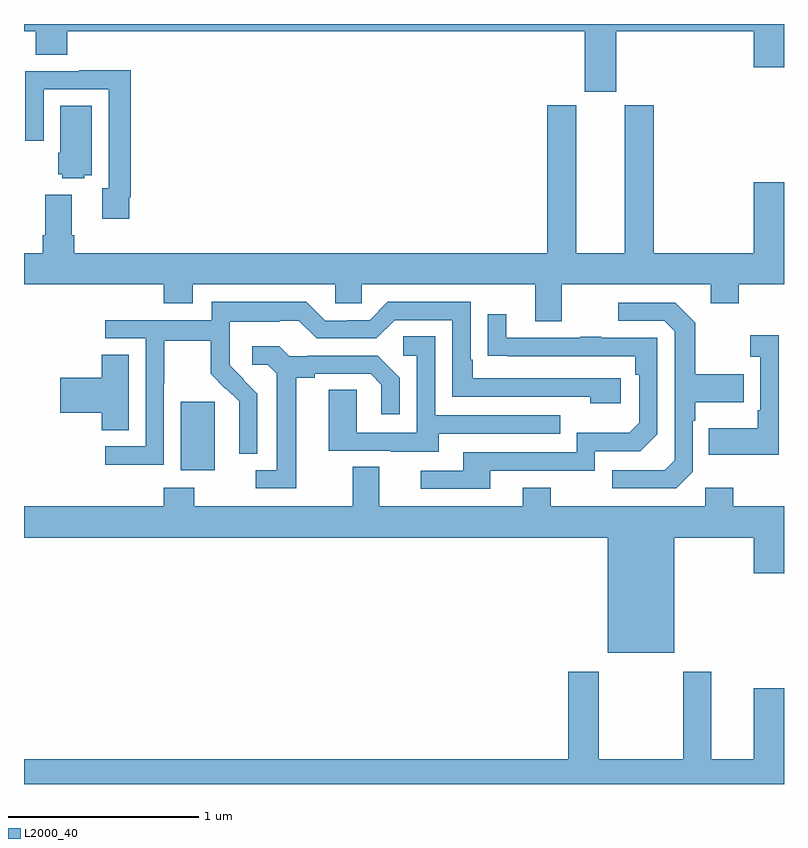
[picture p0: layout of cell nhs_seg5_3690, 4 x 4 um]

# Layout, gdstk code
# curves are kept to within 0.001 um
import gdstk
lib = gdstk.Library(unit=1e-6, precision=1e-09)
def R(c, l, rs):  # rectangles x0, y0, x1, y1
    for r in rs: c.add(gdstk.rectangle(r[:2], r[2:], *l))
def P(c, l, *ps):  # polygons
    for p in ps: c.add(gdstk.Polygon(p, *l))
L2000_40 = (2000, 40)

nhs_seg5_3690 = lib.new_cell('nhs_seg5_3690')
R(nhs_seg5_3690, L2000_40, [(329.825,854.45,330.004,854.811)])
P(nhs_seg5_3690, L2000_40, [(329,856.76),(329.063,856.76),(329.063,856.636),(329.228,856.636),(329.228,856.76),(331.952,856.76),(331.952,856.443),(332.116,856.443),(332.116,856.76),(332.84,856.76),(332.84,856.572),(333,856.572),(333,856.799),(329,856.799)],
  [(329.554,855.886),(329.561,855.886),(329.561,856.555),(329.291,856.555),(329.291,856.551),(329.007,856.551),(329.007,856.185),(329.103,856.185),(329.103,856.455),(329.445,856.455),(329.445,855.935),(329.411,855.935),(329.411,855.774),(329.554,855.774)],
  [(329.264,855.688),(329.251,855.688),(329.251,855.901),(329.111,855.901),(329.111,855.688),(329.099,855.688),(329.099,855.592),(329,855.592),(329,855.428),(329.735,855.428),(329.735,855.329),(329.887,855.329),(329.887,855.428),(330.639,855.428),(330.639,855.33),(330.777,855.33),(330.777,855.428),(331.691,855.428),(331.691,855.234),(331.831,855.234),(331.831,855.428),(332.615,855.428),(332.615,855.329),(332.763,855.329),(332.763,855.428),(333,855.428),(333,855.967),(332.84,855.967),(332.84,855.592),(332.315,855.592),(332.315,856.371),(332.162,856.371),(332.162,855.592),(331.906,855.592),(331.906,856.371),(331.754,856.371),(331.754,855.592),(329.264,855.592)],
  [(329.316,856.004),(329.356,856.004),(329.356,856.37),(329.192,856.37),(329.192,856.122),(329.18,856.122),(329.18,856.008),(329.202,856.008),(329.202,855.986),(329.316,855.986)],
  [(329.736,854.908),(329.739,854.908),(329.739,855.132),(329.983,855.132),(329.983,854.957),(330.06,854.88),(330.063,854.883),(330.134,854.813),(330.134,854.69),(330.132,854.69),(330.132,854.536),(330.228,854.536),(330.228,854.854),(330.082,855.002),(330.082,855.099),(330.084,855.099),(330.084,855.233),(330.347,855.233),(330.347,855.237),(330.447,855.237),(330.54,855.144),(330.855,855.144),(330.951,855.24),(331.254,855.24),(331.254,854.838),(331.979,854.838),(331.979,854.804),(332.14,854.804),(332.14,854.934),(331.363,854.934),(331.363,855.031),(331.35,855.031),(331.35,855.336),(330.915,855.336),(330.819,855.24),(330.701,855.24),(330.701,855.237),(330.585,855.237),(330.485,855.337),(329.988,855.337),(329.988,855.24),(329.427,855.24),(329.427,855.144),(329.64,855.144),(329.64,854.577),(329.427,854.577),(329.427,854.479),(329.736,854.479)],
  [(332.52,854.442),(332.52,854.711),(332.533,854.711),(332.533,854.807),(332.789,854.807),(332.789,854.955),(332.533,854.955),(332.533,855.227),(332.427,855.333),(332.127,855.333),(332.127,855.237),(332.37,855.237),(332.424,855.183),(332.424,854.502),(332.373,854.451),(332.097,854.451),(332.097,854.355),(332.433,854.355)],
  [(331.453,854.448),(332.004,854.448),(332.004,854.55),(332.244,854.55),(332.334,854.64),(332.334,855.147),(332.039,855.147),(332.039,855.152),(331.927,855.152),(331.927,855.147),(331.537,855.147),(331.537,855.271),(331.441,855.271),(331.441,855.052),(332.218,855.051),(332.218,854.954),(332.238,854.954),(332.238,854.7),(332.185,854.647),(331.908,854.647),(331.908,854.544),(331.313,854.544),(331.313,854.448),(331.089,854.448),(331.089,854.352),(331.453,854.352)],
  [(332.972,855.16),(332.823,855.16),(332.823,855.047),(332.874,855.047),(332.874,854.767),(332.862,854.767),(332.862,854.671),(332.605,854.671),(332.605,854.531),(332.972,854.531)],
  [(331.183,854.643),(331.823,854.643),(331.823,854.739),(331.164,854.739),(331.164,855.155),(330.996,855.155),(330.996,855.054),(331.068,855.054),(331.068,854.649),(330.75,854.649),(330.75,854.873),(330.605,854.873),(330.605,854.553),(330.929,854.553),(330.929,854.549),(331.183,854.549)],
  [(330.433,854.936),(330.529,854.936),(330.529,854.958),(330.824,854.958),(330.881,854.901),(330.881,854.745),(330.978,854.745),(330.978,854.938),(330.862,855.054),(330.49,855.054),(330.49,855.051),(330.396,855.051),(330.344,855.103),(330.201,855.103),(330.201,855.006),(330.282,855.006),(330.329,854.959),(330.329,854.451),(330.219,854.451),(330.219,854.355),(330.433,854.355)],
  [(329.551,855.059),(329.408,855.059),(329.408,854.936),(329.19,854.936),(329.19,854.753),(329.408,854.753),(329.408,854.662),(329.551,854.662)],
  [(332.422,854.096),(332.84,854.096),(332.84,853.908),(333,853.908),(333,854.26),(332.733,854.26),(332.733,854.359),(332.586,854.359),(332.586,854.26),(331.773,854.26),(331.773,854.359),(331.625,854.359),(331.625,854.26),(330.871,854.26),(330.871,854.468),(330.731,854.468),(330.731,854.26),(329.895,854.26),(329.895,854.359),(329.735,854.359),(329.735,854.26),(329,854.26),(329,854.096),(332.072,854.096),(332.072,853.49),(332.422,853.49)],
  [(333,853.303),(332.84,853.303),(332.84,852.928),(332.617,852.928),(332.617,853.39),(332.47,853.39),(332.47,852.928),(332.025,852.928),(332.025,853.39),(331.865,853.39),(331.865,852.928),(329,852.928),(329,852.799),(333,852.799)])

lib.write_gds('nhs_seg5_3690.gds')
